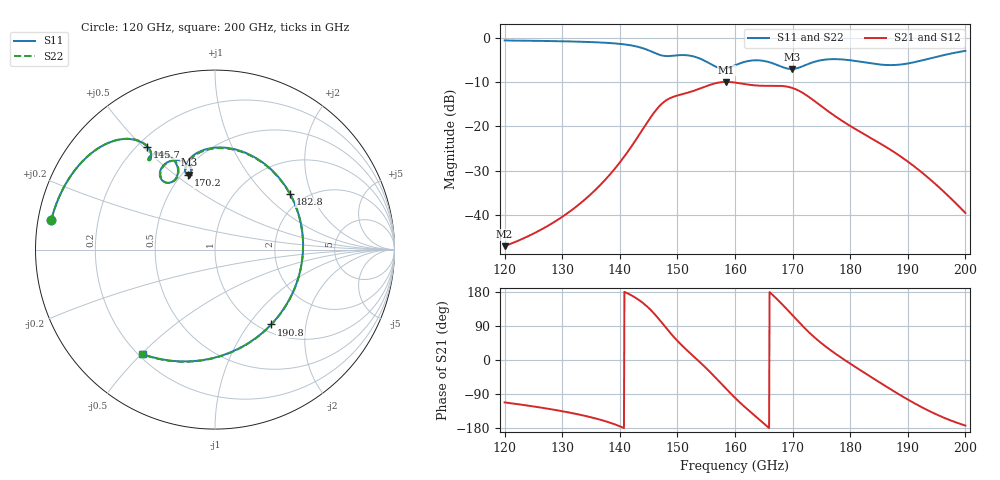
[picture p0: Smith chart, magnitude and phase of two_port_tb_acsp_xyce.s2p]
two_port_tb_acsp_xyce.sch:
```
v {xschem version=3.4.8RC file_version=1.3}
G {}
K {}
V {}
S {}
F {}
E {}
T {SPDX-FileCopyrightText: 2026 Simon Dorrer
SPDX-License-Identifier: Apache-2.0
} 1820 -140 0 0 0.4 0.4 {}
T {Xyce Testbench for AC S-parameter analysis - Two-Port} 480 -1720 0 0 1 1 {}
N 1000 -1240 1000 -1180 {lab=v1}
N 1000 -1120 1000 -1060 {lab=GND}
N 920 -1240 1000 -1240 {lab=v1}
N 1280 -1240 1360 -1240 {lab=v2}
N 1360 -1120 1360 -1060 {lab=GND}
N 1360 -1240 1360 -1180 {lab=v2}
N 1360 -1240 1440 -1240 {lab=v2}
N 1000 -1240 1080 -1240 {lab=v1}
C {devices/code_shown.sym} 40 -1330 0 0 {name=XYCE
only_toplevel=true
lock=false
value="
.include ../../../netlist/xyce/two_port.cir
.include ../sim_range.cir

* User Constants
* f_min / f_max come from ../sim_range.cir (.param),
* auto-synced by snp2le to the band it fitted.
* edit that file for a standalone run.

* Xschem's ground symbol netlists node GND, which Xyce takes as ground only with this.
.PREPROCESS REPLACEGROUND TRUE

* AC S-Parameter Analysis
* Xyce writes S-parameters only as a Touchstone file, which snp2le imports.
.AC LIN 1001 \{f_min\} \{f_max\}
.LIN SPARCALC=1 FORMAT=TOUCHSTONE2 DATAFORMAT=RI FILE=../plot_simulations/data/@schname\\\\.s2p
"}
C {title-3.sym} 0 0 0 0 {name=l2 author="Simon Dorrer" rev=1.0 lock=true}
C {lab_pin.sym} 1440 -1240 0 1 {name=p3 sig_type=std_logic lab=v2}
C {devices/lab_pin.sym} 920 -1240 0 0 {name=l19 sig_type=std_logic lab=v1
}
C {devices/gnd.sym} 1000 -1060 0 0 {name=l39 lab=GND}
C {devices/vsource.sym} 1000 -1150 0 1 {name=P1 value="port=1 z0=50"
}
C {devices/gnd.sym} 1360 -1060 0 0 {name=l3 lab=GND}
C {devices/launcher.sym} 1740 -1180 0 0 {name=h2
descr="Simulate Xyce"
tclcommand="
# Setup the default simulation commands if not already set up
# for example by already launched simulations.
set_sim_defaults

# change the simulator to be used (#3 in spice category is Xyce batch)
set sim(spice,default) 3
xschem set netlist_type spice

# run netlist and simulation
xschem netlist
simulate
"}
C {devices/vsource.sym} 1360 -1150 0 0 {name=P2 value="port=2 z0=50"
}
C {two_port.sym} 1180 -1240 0 0 {name=x1
}
```
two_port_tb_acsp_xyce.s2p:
[Version] 2.0
# Hz S RI R 50
[Number of Ports] 2
[Two-Port Data Order] 12_21
[Reference] 50 50
!  Freq  ReS11  ImS11  ReS12  ImS12  ReS21  ImS21  ReS22  ImS22
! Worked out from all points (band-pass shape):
!   1001 points, 120 GHz to 200 GHz, reference 50 ohm
!   highest |S21| = -10.01 dB at 158.5 GHz (marker M1); lowest = -47.1 dB at 120 GHz (marker M2)
!   |S21| within 3 dB of the highest: 150.2 GHz to 172.4 GHz (22.22 GHz wide, 13.8 % of centre)
!   lowest |S11| = -7.1 dB at 169.8 GHz (marker M3), VSWR 2.58, Z = 27.1 + j28.1 ohm
!   |S11| at or under -10 dB: nowhere
!   |S22| runs from -7.2 to -0.7 dB; largest |S21 - S12| = 1e-10
!   S11 on the Smith chart (normalised r, x): 120 GHz: 0.04, +0.09; 145.7 GHz: 0.24, +0.51; 170.2 GHz: 0.54, +0.56; 182.8 GHz: 1.68, +1.43; 190.8 GHz: 1.13, -1.29; 200 GHz: 0.22, -0.51
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[Number of Frequencies] 11
[Network Data]
1.2e11  -0.9119 0.1654  -0.00166 -0.00412  -0.00166 -0.00412  -0.9117 0.1662
1.3432e11  -0.7575 0.4708  -0.0134 -0.00815  -0.0134 -0.00815  -0.7565 0.4721
1.4568e11  -0.3778 0.5735  -0.0814 0.1076  -0.0814 0.1076  -0.3754 0.5742
1.536e11  -0.2657 0.5265  0.2611 -0.00647  0.2611 -0.00647  -0.2623 0.5268
1.5848e11  -0.2521 0.3729  0.0743 -0.307  0.0743 -0.307  -0.2491 0.3723
1.6e11  -0.295 0.3864  -0.053 -0.306  -0.053 -0.306  -0.2921 0.3861
1.6984e11  -0.1446 0.4172  -0.137 0.2342  -0.137 0.2342  -0.14 0.4136
1.7016e11  -0.1497 0.4167  -0.1132 0.2418  -0.1132 0.2418  -0.1453 0.4131
1.828e11  0.4191 0.3088  0.063 -0.0474  0.063 -0.0474  0.4234 0.2985
1.908e11  0.3133 -0.4168  -0.0132 -0.0341  -0.0132 -0.0341  0.3057 -0.4261
2e11  -0.401 -0.5828  -0.0104 -0.00127  -0.0104 -0.00127  -0.4071 -0.582
[End]
